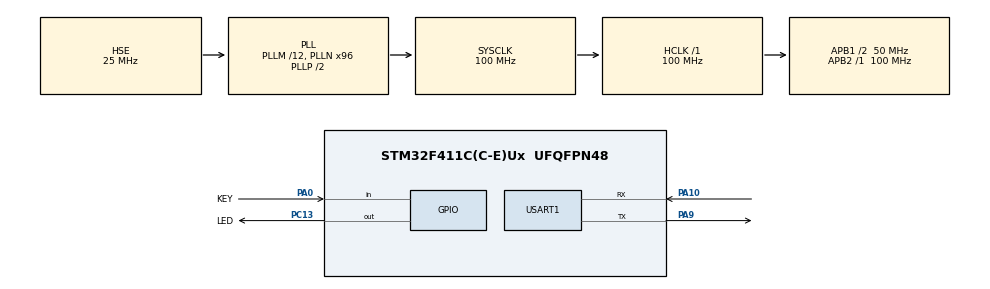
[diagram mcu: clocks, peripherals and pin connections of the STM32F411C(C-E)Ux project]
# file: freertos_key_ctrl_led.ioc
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FREERTOS.Tasks01=defaultTask,24,128,StartDefaultTask,Default,NULL,Dynamic,NULL,NULL;KEY_Task,32,128,StartTask02,Default,NULL,Dynamic,NULL,NULL
Mcu.Family=STM32F4
Mcu.Name=STM32F411C(C-E)Ux
Mcu.Package=UFQFPN48
NVIC.PriorityGroup=NVIC_PRIORITYGROUP_4
NVIC.TIM1_UP_TIM10_IRQn=true\:15\:0\:false\:false\:true\:false\:false\:true\:true
NVIC.TimeBase=TIM1_UP_TIM10_IRQn
NVIC.TimeBaseIP=TIM1
PA0-WKUP.GPIO_Label=KEY
PA0-WKUP.GPIO_PuPd=GPIO_PULLUP
PA0-WKUP.Signal=GPIO_Input
PA10.Mode=Asynchronous
PA10.Signal=USART1_RX
PA13.Mode=Serial_Wire
PA13.Signal=SYS_JTMS-SWDIO
PA14.Mode=Serial_Wire
PA14.Signal=SYS_JTCK-SWCLK
PA9.Mode=Asynchronous
PA9.Signal=USART1_TX
PC13-ANTI_TAMP.GPIO_Label=LED
PC13-ANTI_TAMP.Signal=GPIO_Output
PC14-OSC32_IN.Mode=LSE-External-Oscillator
PC14-OSC32_IN.Signal=RCC_OSC32_IN
PC15-OSC32_OUT.Mode=LSE-External-Oscillator
PC15-OSC32_OUT.Signal=RCC_OSC32_OUT
PH0\ -\ OSC_IN.Mode=HSE-External-Oscillator
PH0\ -\ OSC_IN.Signal=RCC_OSC_IN
PH1\ -\ OSC_OUT.Mode=HSE-External-Oscillator
PH1\ -\ OSC_OUT.Signal=RCC_OSC_OUT
ProjectManager.HeapSize=0x200
ProjectManager.StackSize=0x400
ProjectManager.TargetToolchain=MDK-ARM V5.32
RCC.48MHZClocksFreq_Value=50000000
RCC.AHBFreq_Value=100000000
RCC.APB1CLKDivider=RCC_HCLK_DIV2
RCC.APB1Freq_Value=50000000
RCC.APB1TimFreq_Value=100000000
RCC.APB2Freq_Value=100000000
RCC.APB2TimFreq_Value=100000000
RCC.CortexFreq_Value=100000000
RCC.HCLKFreq_Value=100000000
RCC.HSE_VALUE=25000000
RCC.HSI_VALUE=16000000
RCC.PLLM=12
RCC.PLLN=96
RCC.PLLSourceVirtual=RCC_PLLSOURCE_HSE
RCC.SYSCLKFreq_VALUE=100000000
RCC.SYSCLKSource=RCC_SYSCLKSOURCE_PLLCLK
RCC.VCOOutputFreq_Value=200000000
USART1.VirtualMode=VM_ASYNC
VP_FREERTOS_VS_CMSIS_V2.Mode=CMSIS_V2
VP_SYS_VS_tim1.Mode=TIM1
board=custom

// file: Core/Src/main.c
/* USER CODE BEGIN Header */
/**
  ******************************************************************************
  * @file           : main.c
  * @brief          : Main program body
  ******************************************************************************
  * @attention
  *
  * Copyright (c) 2026 STMicroelectronics.
  * All rights reserved.
  *
  * This software is licensed under terms that can be found in the LICENSE file
  * in the root directory of this software component.
  * If no LICENSE file comes with this software, it is provided AS-IS.
  *
  ******************************************************************************
  */
/* USER CODE END Header */
#include "main.h"
#include "cmsis_os.h"
#include "usart.h"
#include "gpio.h"
#include "bsp_key.h"

/* USER CODE BEGIN Includes */
#include "stdio.h"
/* USER CODE END Includes */

void SystemClock_Config(void);
void MX_FREERTOS_Init(void);

int main(void)
{

  /* MCU Configuration--------------------------------------------------------*/

  /* Reset of all peripherals, Initializes the Flash interface and the Systick. */
  HAL_Init();

  /* Configure the system clock */
  SystemClock_Config();

  /* Initialize all configured peripherals */
  MX_GPIO_Init();
  MX_USART1_UART_Init();

  /* Init scheduler */
  osKernelInitialize();

  /* Call init function for freertos objects (in cmsis_os2.c) */
  MX_FREERTOS_Init();

  /* Start scheduler */
  osKernelStart();

  /* We should never get here as control is now taken by the scheduler */

  /* Infinite loop */
  while (1)
  {

  }
}

void SystemClock_Config(void)
{
  RCC_OscInitTypeDef RCC_OscInitStruct = {0};
  RCC_ClkInitTypeDef RCC_ClkInitStruct = {0};

  /** Configure the main internal regulator output voltage
  */
  __HAL_RCC_PWR_CLK_ENABLE();
  __HAL_PWR_VOLTAGESCALING_CONFIG(PWR_REGULATOR_VOLTAGE_SCALE1);

  /** Initializes the RCC Oscillators according to the specified parameters
  * in the RCC_OscInitTypeDef structure.
  */
  RCC_OscInitStruct.OscillatorType = RCC_OSCILLATORTYPE_HSE;
  RCC_OscInitStruct.HSEState = RCC_HSE_ON;
  RCC_OscInitStruct.PLL.PLLState = RCC_PLL_ON;
  RCC_OscInitStruct.PLL.PLLSource = RCC_PLLSOURCE_HSE;
  RCC_OscInitStruct.PLL.PLLM = 12;
  RCC_OscInitStruct.PLL.PLLN = 96;
  RCC_OscInitStruct.PLL.PLLP = RCC_PLLP_DIV2;
  RCC_OscInitStruct.PLL.PLLQ = 4;
  if (HAL_RCC_OscConfig(&RCC_OscInitStruct) != HAL_OK)
  {
    Error_Handler();
  }

  /** Initializes the CPU, AHB and APB buses clocks
  */
  RCC_ClkInitStruct.ClockType = RCC_CLOCKTYPE_HCLK|RCC_CLOCKTYPE_SYSCLK
                              |RCC_CLOCKTYPE_PCLK1|RCC_CLOCKTYPE_PCLK2;
  RCC_ClkInitStruct.SYSCLKSource = RCC_SYSCLKSOURCE_PLLCLK;
  RCC_ClkInitStruct.AHBCLKDivider = RCC_SYSCLK_DIV1;
  RCC_ClkInitStruct.APB1CLKDivider = RCC_HCLK_DIV2;
  RCC_ClkInitStruct.APB2CLKDivider = RCC_HCLK_DIV1;

  if (HAL_RCC_ClockConfig(&RCC_ClkInitStruct, FLASH_LATENCY_3) != HAL_OK)
  {
    Error_Handler();
  }
}

/* USER CODE BEGIN 4 */
int fputc(int ch, FILE *f)
{
    HAL_UART_Transmit(&huart1, (uint8_t *)&ch, 1, 0xFFFF);
    return ch;
}
/* USER CODE END 4 */

void HAL_TIM_PeriodElapsedCallback(TIM_HandleTypeDef *htim)
{
  if (htim->Instance == TIM1)
  {
    HAL_IncTick();
  }
}

void Error_Handler(void)
{
  __disable_irq();
  while (1)
  {
  }
}

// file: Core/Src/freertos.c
/* USER CODE BEGIN Header */
/**
  ******************************************************************************
  * File Name          : freertos.c
  * Description        : Code for freertos applications
  ******************************************************************************
  * @attention
  *
  * Copyright (c) 2026 STMicroelectronics.
  * All rights reserved.
  *
  * This software is licensed under terms that can be found in the LICENSE file
  * in the root directory of this software component.
  * If no LICENSE file comes with this software, it is provided AS-IS.
  *
  ******************************************************************************
  */
/* USER CODE END Header */

#include "FreeRTOS.h"
#include "task.h"
#include "main.h"
#include "cmsis_os.h"

/* USER CODE BEGIN Includes */
#include "bsp_key.h"
#include "bsp_led.h"
#include "queue.h"  //freertos队列头文件

/* USER CODE END Includes */

/* USER CODE BEGIN PD */
extern UART_HandleTypeDef huart1;

static uint8_t g_blink_cnt = 0;        /* 剩余闪烁翻转次数 */

#define KEY_LONG_BLINK_TOGGLES 6       /* 3 次亮灭 = 翻转 6 次 */
/* USER CODE END PD */

/* USER CODE BEGIN Variables */
QueueHandle_t g_key_queue = NULL;   /* 按键队列句柄，g_ 前缀，初始空 */
QueueHandle_t g_led_queue = NULL;   /* LED 队列句柄，g_ 前缀，初始空 */

osThreadId_t LedTaskHandle;         /* LED 任务句柄（手写在保留区，Cube 不会删）*/
const osThreadAttr_t LedTask_attributes = {
  .name = "LED_Task",
  .stack_size = 128 * 4,
  .priority = (osPriority_t) osPriorityNormal,
};
/* USER CODE END Variables */
/* Definitions for UsartTask */
osThreadId_t UsartTaskHandle;
const osThreadAttr_t UsartTask_attributes = {
  .name = "Usart_Task",
  .stack_size = 128 * 4,
  .priority = (osPriority_t) osPriorityNormal,
};
/* Definitions for KEY_Task */
osThreadId_t KEY_TaskHandle;
const osThreadAttr_t KEY_Task_attributes = {
  .name = "KEY_Task",
  .stack_size = 128 * 4,
  .priority = (osPriority_t) osPriorityAboveNormal,
};

/* USER CODE BEGIN FunctionPrototypes */
void LedTask(void *argument);   /* LED 任务：消费队列消息并翻转 LED */
/* USER CODE END FunctionPrototypes */

void StartUsartTask(void *argument);//打印
void KeyTask(void *argument);//按键扫描

void MX_FREERTOS_Init(void); /* (MISRA C 2004 rule 8.1) */

void MX_FREERTOS_Init(void)
{
  /* USER CODE BEGIN Init */
  g_key_queue = xQueueCreate(10, sizeof(key_event_t));
  if (NULL == g_key_queue)
  {
      printf("key_queue create failed\r\n");
  }

  g_led_queue = xQueueCreate(10, sizeof(key_event_t));
  if (NULL == g_led_queue)
  {
      printf("led_queue create failed\r\n");
  }
  /* USER CODE END Init */

  /* Create the thread(s) */
  /* creation of UsartTask */
  UsartTaskHandle = osThreadNew(StartUsartTask, NULL, &UsartTask_attributes);

  /* creation of KEY_Task */
  KEY_TaskHandle = osThreadNew(KeyTask, NULL, &KEY_Task_attributes);

  /* USER CODE BEGIN RTOS_THREADS */
  /* add threads, ... */
  LedTaskHandle = osThreadNew(LedTask, NULL, &LedTask_attributes);
  /* USER CODE END RTOS_THREADS */

}

void StartUsartTask(void *argument)
{

  /* USER CODE BEGIN StartUsartTask */
  key_event_t key_evt = KEY_EVENT_NONE;
  /* 阻塞等待 LED 状态消息，收到后走串口打印（UART 仅由本任务独占，避免多任务打印冲突）*/
  for (;;)
  {
    if (NULL == g_led_queue)
    {
      printf("led_queue create failed\r\n");
      Error_Handler();      /* 或断言死循环——失败就别继续启动了 */
    }
    if (pdTRUE == xQueueReceive(g_led_queue, &key_evt, pdMS_TO_TICKS(100)))
    {
      switch(key_evt)
      {
        case KEY_EVENT_NONE:
          printf("KEY_EVENT_NONE\r\n");
          break;
        case KEY_EVENT_CLICK_PRESSED:
          printf("KEY_EVENT_CLICK_PRESSED\r\n");
          break;
        case KEY_EVENT_LONG_PRESSED:
          printf("KEY_EVENT_LONG_PRESSED\r\n");
          break;
        default:
          printf("KEY_EVENT_UNKNOWN\r\n");
          break;
      }
    }

  }
  /* USER CODE END StartUsartTask */
}

void KeyTask(void *argument)
{
  /* USER CODE BEGIN KeyTask */
  key_event_t key_event = KEY_EVENT_NONE;
  /* Infinite loop */
for (;;)
  {
    key_event = key_scan();
    if (KEY_EVENT_NONE != key_event)
    {
        /* 原生或 CMSIS 队列 API 均可，保持与工程一致 */
        xQueueSendToBack(g_key_queue, &key_event, 0);
    }
     vTaskDelay(pdMS_TO_TICKS(KEY_SCAN_PERIOD_MS));
      /* 任务休眠10ms，之后再次执行按键检测，实现软件消抖的轮询按键 */
      /* pdMS_TO_TICKS(x)，把毫秒时间转换成系统节拍tick计数值。 */
      /* vTaskDelay( ticks ) 延时函数 */
  }
  /* USER CODE END KeyTask */
}

/* USER CODE BEGIN Application */

/**
 * @brief  LED task: consumes queue messages and toggles the LED.
 * @param  argument: Not used
 * @retval None
 */
void LedTask(void *argument)
{
  for (;;)
  {
    key_event_t evt = KEY_EVENT_NONE;
    if (NULL == g_key_queue)
    {
     printf("key_queue create failed\r\n");
      Error_Handler();      /* 或断言死循环——失败就别继续启动了 */
    }
    /* 非阻塞等待按键消息， */
    if (pdTRUE == xQueueReceive(g_key_queue, &evt,0))
    {
      if (0 == g_blink_cnt)//翻转
      {
        if(KEY_EVENT_CLICK_PRESSED == evt)//点按一次
        {
          led_toggle();
          xQueueSendToBack(g_led_queue, &evt, 0);   /* 发打印指示 */
        }
        else if (KEY_EVENT_LONG_PRESSED == evt)//长按一次
        {
          g_blink_cnt = KEY_LONG_BLINK_TOGGLES;  /* 3 次亮灭 = 翻转 6 次 */
          xQueueSendToBack(g_led_queue, &evt, 0);   /* 发打印指示 */
        }

      }
    }
    if (g_blink_cnt > 0)
    {
      led_toggle();
      g_blink_cnt--;
    }
    vTaskDelay(pdMS_TO_TICKS(200));  /* 200ms 翻转一次 */
  }
}

/* USER CODE END Application */
